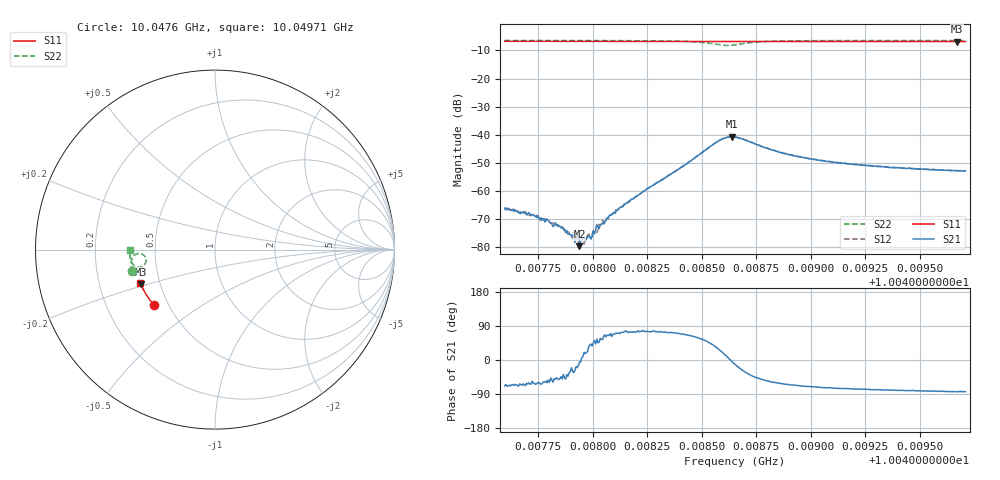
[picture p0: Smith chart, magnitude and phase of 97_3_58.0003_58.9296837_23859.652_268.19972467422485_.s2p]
#  HZ  S  RI  R  50.00
! Rohde & Schwarz Vector Network Analyzer
! Rohde-Schwarz,ZNB20-2Port,1311601062101988,3.16
! Created: UTC 3/21/2024, 12:54:39 AM
! freq[Hz]  re:S11  im:S11  re:S21  im:S21  re:S12  im:S12  re:S22  im:S22
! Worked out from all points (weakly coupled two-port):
!   401 points, 10.0476 GHz to 10.04971 GHz, reference 50 ohm
!   highest |S21| = -40.75 dB at 10.04864 GHz (marker M1); lowest = -79.7 dB at 10.04794 GHz (marker M2)
!   lowest |S11| = -6.8 dB at 10.04967 GHz (marker M3), VSWR 2.68, Z = 19.4 - j9.38 ohm
!   |S11| at or under -10 dB: nowhere
!   |S22| runs from -8.2 to -6.4 dB; largest |S21 - S12| = 0.00065
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1.0047596e10  -0.3424 -0.3073  0.00018 -0.000458  0.000235 -0.000419  -0.4612 -0.1213
1.0047734e10  -0.3482 -0.3001  0.000168 -0.000314  0.000202 -0.000292  -0.4633 -0.1113
1.0047797e10  -0.3509 -0.297  0.000176 -0.000234  0.000177 -0.000228  -0.4641 -0.1065
1.0047813e10  -0.3515 -0.296  0.000159 -0.000204  0.000163 -0.000213  -0.4641 -0.1052
1.0047855e10  -0.3532 -0.2936  0.000156 -0.000152  0.000138 -0.000172  -0.4648 -0.102
1.0047913e10  -0.3557 -0.2907  0.000154 -0.000101  0.000146 -4.77e-05  -0.4653 -0.0972
1.0047939e10  -0.3566 -0.2893  0.000103 -9.7e-06  0.000142 -6.75e-06  -0.4658 -0.0951
1.004795e10  -0.3571 -0.2886  0.00013 1.41e-05  0.000141 2.81e-05  -0.4659 -0.0942
1.0047998e10  -0.3591 -0.2861  0.000123 9.19e-05  0.000122 0.000114  -0.4664 -0.0903
1.0048013e10  -0.3596 -0.2854  0.00015 0.000137  0.000133 0.000126  -0.4663 -0.0888
1.004804e10  -0.3608 -0.284  0.000148 0.000207  0.000123 0.000225  -0.4664 -0.0864
1.0048077e10  -0.3621 -0.282  0.000157 0.000327  0.000132 0.000336  -0.4668 -0.0833
1.0048124e10  -0.364 -0.2795  0.000175 0.000471  0.000121 0.000452  -0.467 -0.0787
1.0048304e10  -0.3709 -0.2697  0.000414 0.0014  0.000333 0.00144  -0.4649 -0.0583
1.0048573e10  -0.3801 -0.2543  0.00653 0.00385  0.00631 0.00427  -0.4035 -0.0264
1.0048637e10  -0.3819 -0.2513  0.00916 -0.000519  0.00918 8.14e-05  -0.3851 -0.0682
1.0048652e10  -0.3824 -0.2505  0.00887 -0.00183  0.00905 -0.00125  -0.3896 -0.0795
1.0048858e10  -0.39 -0.2391  0.00231 -0.00427  0.00258 -0.00418  -0.4583 -0.0806
1.0049006e10  -0.395 -0.2306  0.00122 -0.00345  0.00142 -0.00342  -0.4683 -0.0612
1.004936e10  -0.4059 -0.2098  0.000458 -0.00259  0.000646 -0.00257  -0.4745 -0.0285
1.0049672e10  -0.4143 -0.191  0.00025 -0.00225  0.000378 -0.00226  -0.4755 -0.00465
1.0049709e10  -0.4154 -0.1888  0.000254 -0.00224  0.00036 -0.00223  -0.4756 -0.00203
